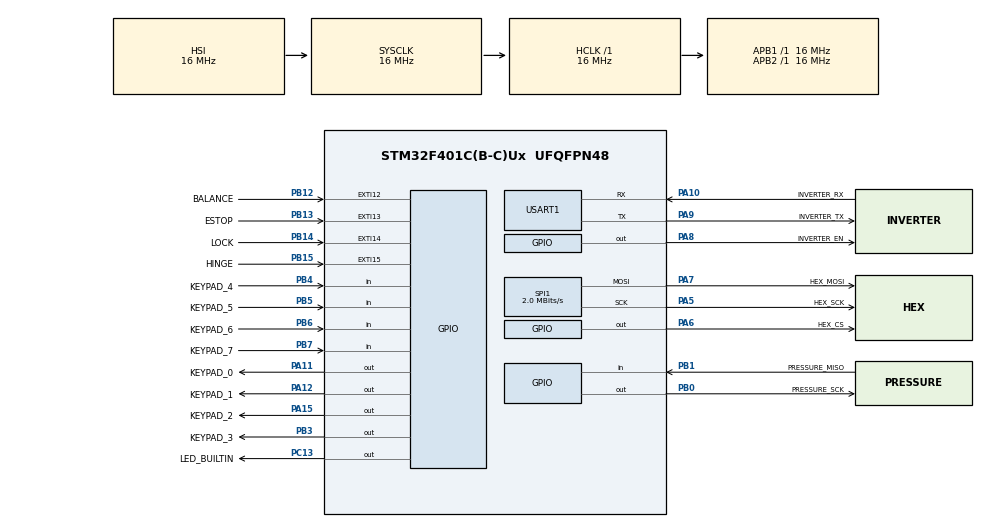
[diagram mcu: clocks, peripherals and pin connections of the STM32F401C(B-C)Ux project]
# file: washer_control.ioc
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Mcu.Family=STM32F4
Mcu.Name=STM32F401C(B-C)Ux
Mcu.Package=UFQFPN48
NVIC.PriorityGroup=NVIC_PRIORITYGROUP_4
NVIC.USART1_IRQn=true\:0\:0\:false\:false\:true\:true\:true\:true
PA10.GPIO_Label=INVERTER_RX
PA10.Mode=Asynchronous
PA10.Signal=USART1_RX
PA11.GPIO_Label=KEYPAD_0
PA11.Signal=GPIO_Output
PA12.GPIO_Label=KEYPAD_1
PA12.Signal=GPIO_Output
PA15.GPIO_Label=KEYPAD_2
PA15.Signal=GPIO_Output
PA5.GPIO_Label=HEX_SCK
PA5.Mode=TX_Only_Simplex_Unidirect_Master
PA5.Signal=SPI1_SCK
PA6.GPIO_Label=HEX_CS
PA6.Signal=GPIO_Output
PA7.GPIO_Label=HEX_MOSI
PA7.Mode=TX_Only_Simplex_Unidirect_Master
PA7.Signal=SPI1_MOSI
PA8.GPIO_Label=INVERTER_EN
PA8.Signal=GPIO_Output
PA9.GPIO_Label=INVERTER_TX
PA9.Mode=Asynchronous
PA9.Signal=USART1_TX
PB0.GPIO_Label=PRESSURE_SCK
PB0.Signal=GPIO_Output
PB1.GPIO_Label=PRESSURE_MISO
PB1.Signal=GPIO_Input
PB12.GPIO_Label=BALANCE
PB12.Signal=GPXTI12
PB13.GPIO_Label=ESTOP
PB13.Signal=GPXTI13
PB14.GPIO_Label=LOCK
PB14.Signal=GPXTI14
PB15.GPIO_Label=HINGE
PB15.Signal=GPXTI15
PB3.GPIO_Label=KEYPAD_3
PB3.Signal=GPIO_Output
PB4.GPIO_Label=KEYPAD_4
PB4.GPIO_PuPd=GPIO_PULLDOWN
PB4.Signal=GPIO_Input
PB5.GPIO_Label=KEYPAD_5
PB5.GPIO_PuPd=GPIO_PULLDOWN
PB5.Signal=GPIO_Input
PB6.GPIO_Label=KEYPAD_6
PB6.GPIO_PuPd=GPIO_PULLDOWN
PB6.Signal=GPIO_Input
PB7.GPIO_Label=KEYPAD_7
PB7.GPIO_PuPd=GPIO_PULLDOWN
PB7.Signal=GPIO_Input
PC13-ANTI_TAMP.GPIO_Label=LED_BUILTIN
PC13-ANTI_TAMP.Signal=GPIO_Output
ProjectManager.HeapSize=0x200
ProjectManager.StackSize=0x400
ProjectManager.TargetToolchain=STM32CubeIDE
RCC.AHBFreq_Value=16000000
RCC.APB1Freq_Value=16000000
RCC.APB2Freq_Value=16000000
RCC.CortexFreq_Value=16000000
RCC.HSE_VALUE=25000000
RCC.HSI_VALUE=16000000
RCC.LSE_VALUE=32768
RCC.SYSCLKFreq_VALUE=16000000
RCC.VCOOutputFreq_Value=192000000
SPI1.BaudRatePrescaler=SPI_BAUDRATEPRESCALER_8
SPI1.CalculateBaudRate=2.0 MBits/s
SPI1.DataSize=SPI_DATASIZE_8BIT
SPI1.Direction=SPI_DIRECTION_2LINES
SPI1.Mode=SPI_MODE_MASTER
SPI1.VirtualType=VM_MASTER
USART1.VirtualMode=VM_ASYNC
board=custom

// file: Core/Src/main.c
/* USER CODE BEGIN Header */
/**
  ******************************************************************************
  * @file           : main.c
  * @brief          : Main program body
  ******************************************************************************
  * @attention
  *
  * Copyright (c) 2024 STMicroelectronics.
  * All rights reserved.
  *
  * This software is licensed under terms that can be found in the LICENSE file
  * in the root directory of this software component.
  * If no LICENSE file comes with this software, it is provided AS-IS.
  *
  ******************************************************************************
  */
/* USER CODE END Header */
#include "main.h"

/* USER CODE BEGIN Includes */
#include "modbus_crc.h"
/* USER CODE END Includes */

/* USER CODE BEGIN PD */
#define HEX_DISPLAY_CS 			GPIO_PIN_6
#define HEX_DISPLAY_TEST 		0x0F
#define HEX_DISPLAY_INTENSITY 	0x0A
#define HEX_DISPLAY_SCANLIMIT 	0x0B
#define HEX_DISPLAY_BCDDECODE 	0x09
#define HEX_DISPLAY_SHUTDOWN 	0x0C

#define PRESSURE_PORT 			GPIOB
#define PRESSURE_MISO 			GPIO_PIN_1
#define PRESSURE_SCK 			GPIO_PIN_0
#define WATER_LEVEL_1			160000
#define WATER_LEVEL_2			170000
#define WATER_LEVEL_3			180000
#define WATER_LEVEL_4			190000
#define WATER_LEVEL_5			200000

/* USER CODE END PD */

SPI_HandleTypeDef hspi1;

UART_HandleTypeDef huart1;

/* USER CODE BEGIN PV */
uint8_t digit_address[8] = {0x01, 0x02, 0x03, 0x04, 0x05, 0x06, 0x07, 0x08};
uint8_t char_b_font[16] = {0x00, 0x01, 0x02, 0x03, 0x04, 0x05, 0x06, 0x07, 0x08, 0x09, 0x0A, 0x0B, 0x0C, 0x0D, 0x0E, 0x0F};
uint8_t InverterRxData[32];
uint8_t InverterTxData[8];
uint16_t InverterData[10];
GPIO_TypeDef * keypad_ports[8] = {KEYPAD_0_GPIO_Port, KEYPAD_1_GPIO_Port, KEYPAD_2_GPIO_Port, KEYPAD_3_GPIO_Port, KEYPAD_4_GPIO_Port, KEYPAD_5_GPIO_Port, KEYPAD_6_GPIO_Port, KEYPAD_7_GPIO_Port};
const uint16_t keypad_pins[8] = {KEYPAD_0_Pin, KEYPAD_1_Pin, KEYPAD_2_Pin, KEYPAD_3_Pin, KEYPAD_4_Pin, KEYPAD_5_Pin, KEYPAD_6_Pin, KEYPAD_7_Pin};
/* USER CODE END PV */

void SystemClock_Config(void);
static void MX_GPIO_Init(void);
static void MX_SPI1_Init(void);
static void MX_USART1_UART_Init(void);
/* USER CODE BEGIN PFP */
void send_SPI_16bits_raw(SPI_HandleTypeDef *hspi, uint16_t GPIO_Pin, uint8_t address, uint8_t data);
void hex_display_init();
void hex_display_set_single(int digit, char c);
void hex_display_set(char word[8]);

int get_water_level();
int32_t read_hx710b();
/* USER CODE END PFP */

/* USER CODE BEGIN 0 */
void send_SPI_16bits_raw(SPI_HandleTypeDef *hspi, uint16_t GPIO_Pin, uint8_t address, uint8_t data){
	uint8_t data_16bits[2]={address, data};

	HAL_GPIO_WritePin(GPIOA, GPIO_Pin, GPIO_PIN_RESET);
	HAL_SPI_Transmit(&hspi1, (uint8_t *)data_16bits, 2, 100);
	HAL_GPIO_WritePin(GPIOA, GPIO_Pin, GPIO_PIN_SET);
}

void hex_display_init(){
	  send_SPI_16bits_raw(&hspi1, HEX_DISPLAY_CS, HEX_DISPLAY_TEST, 0x01);
	  HAL_Delay(500);
	  send_SPI_16bits_raw(&hspi1, HEX_DISPLAY_CS, HEX_DISPLAY_TEST, 0x00);
	  send_SPI_16bits_raw(&hspi1, HEX_DISPLAY_CS, HEX_DISPLAY_INTENSITY, 0x0E);
	  send_SPI_16bits_raw(&hspi1, HEX_DISPLAY_CS, HEX_DISPLAY_SCANLIMIT, 0x0F);
	  send_SPI_16bits_raw(&hspi1, HEX_DISPLAY_CS, HEX_DISPLAY_BCDDECODE, 0xFF);
	  send_SPI_16bits_raw(&hspi1, HEX_DISPLAY_CS, HEX_DISPLAY_SHUTDOWN, 0x01);
}

void hex_display_set_single(int digit, char c){
	if(digit < 0 || digit > 7){
		return;
	}

	if(c >= 48 && c <=57){
		send_SPI_16bits_raw(&hspi1, HEX_DISPLAY_CS, digit_address[digit], char_b_font[(int)c - 48]);
		return;
	}

	switch (c) {
		case '-':
			send_SPI_16bits_raw(&hspi1, HEX_DISPLAY_CS, digit_address[digit], char_b_font[10]);
			break;
		case 'e':
			send_SPI_16bits_raw(&hspi1, HEX_DISPLAY_CS, digit_address[digit], char_b_font[11]);
			break;
		case 'h':
			send_SPI_16bits_raw(&hspi1, HEX_DISPLAY_CS, digit_address[digit], char_b_font[12]);
			break;
		case 'l':
			send_SPI_16bits_raw(&hspi1, HEX_DISPLAY_CS, digit_address[digit], char_b_font[13]);
			break;
		case 'p':
			send_SPI_16bits_raw(&hspi1, HEX_DISPLAY_CS, digit_address[digit], char_b_font[14]);
			break;
		case ' ':
			send_SPI_16bits_raw(&hspi1, HEX_DISPLAY_CS, digit_address[digit], char_b_font[15]);
			break;
		default:
			break;
	}
	return;
}

void hex_display_set(char word[8]){
	hex_display_set_single(7, word[0]);
	hex_display_set_single(6, word[1]);
	hex_display_set_single(5, word[2]);
	hex_display_set_single(4, word[3]);
	hex_display_set_single(3, word[4]);
	hex_display_set_single(2, word[5]);
	hex_display_set_single(1, word[6]);
	hex_display_set_single(0, word[7]);
}

int32_t read_hx710b(){
	int32_t output = 0;

	while(HAL_GPIO_ReadPin(PRESSURE_PORT, PRESSURE_MISO) == GPIO_PIN_SET);

	for (int i = 0; i < 24; ++i) {
		HAL_GPIO_WritePin(PRESSURE_PORT, PRESSURE_SCK, GPIO_PIN_SET);
		output <<= 1;
		output |= HAL_GPIO_ReadPin(PRESSURE_PORT, PRESSURE_MISO);
		HAL_GPIO_WritePin(PRESSURE_PORT, PRESSURE_SCK, GPIO_PIN_RESET);
	}

	HAL_GPIO_WritePin(PRESSURE_PORT, PRESSURE_SCK, GPIO_PIN_SET);
	HAL_GPIO_WritePin(PRESSURE_PORT, PRESSURE_SCK, GPIO_PIN_RESET);

	if(output & 0x800000){
		output |= 0xFF000000;
	}

	return output;
}

int get_water_level(){
	int32_t pressure = read_hx710b();

	if(pressure < WATER_LEVEL_1 || pressure == 0x7FFFFF || pressure == 0x800000)
		return 0;
	else if(pressure >= WATER_LEVEL_5)
		return 5;
	else if(pressure >= WATER_LEVEL_4)
		return 4;
	else if(pressure >= WATER_LEVEL_3)
		return 3;
	else if(pressure >= WATER_LEVEL_2)
		return 2;
	else if(pressure >= WATER_LEVEL_1)
		return 1;

	return 0;

}

void sendData (uint8_t *data)
{
	HAL_GPIO_WritePin(INVERTER_EN_GPIO_Port, INVERTER_EN_Pin, GPIO_PIN_SET);
	HAL_UART_Transmit(&huart1, data, 8, 1000);
	HAL_GPIO_WritePin(INVERTER_EN_GPIO_Port, INVERTER_EN_Pin , GPIO_PIN_RESET);
}

void HAL_UARTEx_RxEventCallback(UART_HandleTypeDef *huart, uint16_t Size){
	InverterData[0] = InverterRxData[3]<<8 | InverterRxData[4];
//	InverterData[1] = InverterRxData[5]<<8 | InverterRxData[6];
//	InverterData[2] = InverterRxData[7]<<8 | InverterRxData[8];
//	InverterData[3] = InverterRxData[9]<<8 | InverterRxData[10];
//	InverterData[4] = InverterRxData[11]<<8 | InverterRxData[12];
}

int read_keypad(){
	HAL_GPIO_WritePin(KEYPAD_0_GPIO_Port, KEYPAD_0_Pin, GPIO_PIN_RESET);
	HAL_GPIO_WritePin(KEYPAD_1_GPIO_Port, KEYPAD_1_Pin, GPIO_PIN_RESET);
	HAL_GPIO_WritePin(KEYPAD_2_GPIO_Port, KEYPAD_2_Pin, GPIO_PIN_RESET);
	HAL_GPIO_WritePin(KEYPAD_3_GPIO_Port, KEYPAD_3_Pin, GPIO_PIN_RESET);

	for (int row = 0; row < 4; ++row) {
	  HAL_GPIO_WritePin(keypad_ports[row], keypad_pins[row], GPIO_PIN_SET);
	  for (int col = 0; col < 4; ++col) {
		  if(HAL_GPIO_ReadPin(keypad_ports[col+4], keypad_pins[col+4])){
			  return row * 4 + col;
		  }
	  }
	  HAL_GPIO_WritePin(keypad_ports[row], keypad_pins[row], GPIO_PIN_RESET);
	}
	return 16;
}
/* USER CODE END 0 */

int main(void)
{

  /* MCU Configuration--------------------------------------------------------*/

  /* Reset of all peripherals, Initializes the Flash interface and the Systick. */
  HAL_Init();

  /* Configure the system clock */
  SystemClock_Config();

  /* Initialize all configured peripherals */
  MX_GPIO_Init();
  MX_SPI1_Init();
  MX_USART1_UART_Init();
  /* USER CODE BEGIN 2 */

  hex_display_init();

  HAL_UARTEx_ReceiveToIdle_IT(&huart1, InverterRxData, 32);

  InverterTxData[0] = 0x05;  // slave address
  InverterTxData[1] = 0x03;  // Function code for Read Holding Registers

  InverterTxData[2] = 0;
  InverterTxData[3] = 0x04;
  //The Register address will be 00000000 00000100 = 4 + 40001 = 40005

  InverterTxData[4] = 0;
  InverterTxData[5] = 0x01;
  // no of registers to read will be 00000000 00000101 = 5 Registers = 10 Bytes

  uint16_t crc = crc16(InverterTxData, 6);
  InverterTxData[6] = crc&0xFF;   // CRC LOW
  InverterTxData[7] = (crc>>8)&0xFF;  // CRC HIGH

  sendData(InverterTxData);

  /* USER CODE END 2 */

  /* Infinite loop */
  /* USER CODE BEGIN WHILE */
  while (1)
  {
	  //hex_display_set("        ");
	  int32_t pressure = read_hx710b();
	  char snum[8];
	  itoa(pressure/10, snum, 10);

	  //utoa((uint8_t)InverterData[0], snum, 10 );

	  hex_display_set(snum);
	  HAL_Delay(1000);

	  hex_display_set_single(1, (char)read_keypad()+48);

	  HAL_Delay(500);

//	  hex_display_set("01234567");
//	  HAL_Delay(1000);
    /* USER CODE END WHILE */

  }
}

void SystemClock_Config(void)
{
  RCC_OscInitTypeDef RCC_OscInitStruct = {0};
  RCC_ClkInitTypeDef RCC_ClkInitStruct = {0};

  /** Configure the main internal regulator output voltage
  */
  __HAL_RCC_PWR_CLK_ENABLE();
  __HAL_PWR_VOLTAGESCALING_CONFIG(PWR_REGULATOR_VOLTAGE_SCALE2);

  /** Initializes the RCC Oscillators according to the specified parameters
  * in the RCC_OscInitTypeDef structure.
  */
  RCC_OscInitStruct.OscillatorType = RCC_OSCILLATORTYPE_HSI;
  RCC_OscInitStruct.HSIState = RCC_HSI_ON;
  RCC_OscInitStruct.HSICalibrationValue = RCC_HSICALIBRATION_DEFAULT;
  RCC_OscInitStruct.PLL.PLLState = RCC_PLL_NONE;
  if (HAL_RCC_OscConfig(&RCC_OscInitStruct) != HAL_OK)
  {
    Error_Handler();
  }

  /** Initializes the CPU, AHB and APB buses clocks
  */
  RCC_ClkInitStruct.ClockType = RCC_CLOCKTYPE_HCLK|RCC_CLOCKTYPE_SYSCLK
                              |RCC_CLOCKTYPE_PCLK1|RCC_CLOCKTYPE_PCLK2;
  RCC_ClkInitStruct.SYSCLKSource = RCC_SYSCLKSOURCE_HSI;
  RCC_ClkInitStruct.AHBCLKDivider = RCC_SYSCLK_DIV1;
  RCC_ClkInitStruct.APB1CLKDivider = RCC_HCLK_DIV1;
  RCC_ClkInitStruct.APB2CLKDivider = RCC_HCLK_DIV1;

  if (HAL_RCC_ClockConfig(&RCC_ClkInitStruct, FLASH_LATENCY_0) != HAL_OK)
  {
    Error_Handler();
  }
}

static void MX_SPI1_Init(void)
{

  /* SPI1 parameter configuration*/
  hspi1.Instance = SPI1;
  hspi1.Init.Mode = SPI_MODE_MASTER;
  hspi1.Init.Direction = SPI_DIRECTION_2LINES;
  hspi1.Init.DataSize = SPI_DATASIZE_8BIT;
  hspi1.Init.CLKPolarity = SPI_POLARITY_LOW;
  hspi1.Init.CLKPhase = SPI_PHASE_1EDGE;
  hspi1.Init.NSS = SPI_NSS_SOFT;
  hspi1.Init.BaudRatePrescaler = SPI_BAUDRATEPRESCALER_8;
  hspi1.Init.FirstBit = SPI_FIRSTBIT_MSB;
  hspi1.Init.TIMode = SPI_TIMODE_DISABLE;
  hspi1.Init.CRCCalculation = SPI_CRCCALCULATION_DISABLE;
  hspi1.Init.CRCPolynomial = 10;
  if (HAL_SPI_Init(&hspi1) != HAL_OK)
  {
    Error_Handler();
  }

}

static void MX_USART1_UART_Init(void)
{

  huart1.Instance = USART1;
  huart1.Init.BaudRate = 115200;
  huart1.Init.WordLength = UART_WORDLENGTH_8B;
  huart1.Init.StopBits = UART_STOPBITS_1;
  huart1.Init.Parity = UART_PARITY_NONE;
  huart1.Init.Mode = UART_MODE_TX_RX;
  huart1.Init.HwFlowCtl = UART_HWCONTROL_NONE;
  huart1.Init.OverSampling = UART_OVERSAMPLING_16;
  if (HAL_UART_Init(&huart1) != HAL_OK)
  {
    Error_Handler();
  }

}

static void MX_GPIO_Init(void)
{
  GPIO_InitTypeDef GPIO_InitStruct = {0};

  /* GPIO Ports Clock Enable */
  __HAL_RCC_GPIOC_CLK_ENABLE();
  __HAL_RCC_GPIOA_CLK_ENABLE();
  __HAL_RCC_GPIOB_CLK_ENABLE();

  /*Configure GPIO pin Output Level */
  HAL_GPIO_WritePin(LED_BUILTIN_GPIO_Port, LED_BUILTIN_Pin, GPIO_PIN_RESET);

  /*Configure GPIO pin Output Level */
  HAL_GPIO_WritePin(GPIOA, HEX_CS_Pin|INVERTER_EN_Pin|KEYPAD_0_Pin|KEYPAD_1_Pin
                          |KEYPAD_2_Pin, GPIO_PIN_RESET);

  /*Configure GPIO pin Output Level */
  HAL_GPIO_WritePin(GPIOB, PRESSURE_SCK_Pin|KEYPAD_3_Pin, GPIO_PIN_RESET);

  /*Configure GPIO pin : LED_BUILTIN_Pin */
  GPIO_InitStruct.Pin = LED_BUILTIN_Pin;
  GPIO_InitStruct.Mode = GPIO_MODE_OUTPUT_PP;
  GPIO_InitStruct.Pull = GPIO_NOPULL;
  GPIO_InitStruct.Speed = GPIO_SPEED_FREQ_LOW;
  HAL_GPIO_Init(LED_BUILTIN_GPIO_Port, &GPIO_InitStruct);

  /*Configure GPIO pins : HEX_CS_Pin INVERTER_EN_Pin KEYPAD_0_Pin KEYPAD_1_Pin
                           KEYPAD_2_Pin */
  GPIO_InitStruct.Pin = HEX_CS_Pin|INVERTER_EN_Pin|KEYPAD_0_Pin|KEYPAD_1_Pin
                          |KEYPAD_2_Pin;
  GPIO_InitStruct.Mode = GPIO_MODE_OUTPUT_PP;
  GPIO_InitStruct.Pull = GPIO_NOPULL;
  GPIO_InitStruct.Speed = GPIO_SPEED_FREQ_LOW;
  HAL_GPIO_Init(GPIOA, &GPIO_InitStruct);

  /*Configure GPIO pins : PRESSURE_SCK_Pin KEYPAD_3_Pin */
  GPIO_InitStruct.Pin = PRESSURE_SCK_Pin|KEYPAD_3_Pin;
  GPIO_InitStruct.Mode = GPIO_MODE_OUTPUT_PP;
  GPIO_InitStruct.Pull = GPIO_NOPULL;
  GPIO_InitStruct.Speed = GPIO_SPEED_FREQ_LOW;
  HAL_GPIO_Init(GPIOB, &GPIO_InitStruct);

  /*Configure GPIO pin : PRESSURE_MISO_Pin */
  GPIO_InitStruct.Pin = PRESSURE_MISO_Pin;
  GPIO_InitStruct.Mode = GPIO_MODE_INPUT;
  GPIO_InitStruct.Pull = GPIO_NOPULL;
  HAL_GPIO_Init(PRESSURE_MISO_GPIO_Port, &GPIO_InitStruct);

  /*Configure GPIO pins : BALANCE_Pin ESTOP_Pin LOCK_Pin HINGE_Pin */
  GPIO_InitStruct.Pin = BALANCE_Pin|ESTOP_Pin|LOCK_Pin|HINGE_Pin;
  GPIO_InitStruct.Mode = GPIO_MODE_IT_RISING;
  GPIO_InitStruct.Pull = GPIO_NOPULL;
  HAL_GPIO_Init(GPIOB, &GPIO_InitStruct);

  /*Configure GPIO pins : KEYPAD_4_Pin KEYPAD_5_Pin KEYPAD_6_Pin KEYPAD_7_Pin */
  GPIO_InitStruct.Pin = KEYPAD_4_Pin|KEYPAD_5_Pin|KEYPAD_6_Pin|KEYPAD_7_Pin;
  GPIO_InitStruct.Mode = GPIO_MODE_INPUT;
  GPIO_InitStruct.Pull = GPIO_PULLDOWN;
  HAL_GPIO_Init(GPIOB, &GPIO_InitStruct);

}

void Error_Handler(void)
{
  __disable_irq();
  while (1)
  {
  }
}
